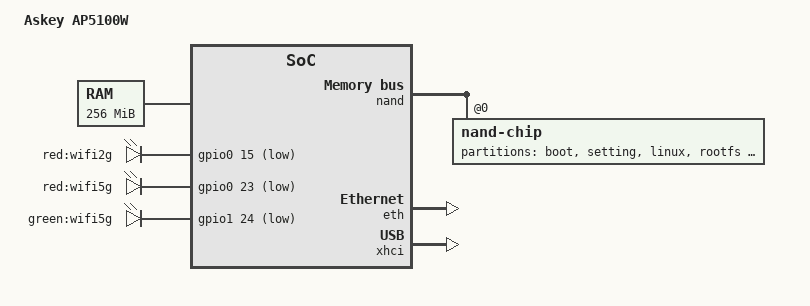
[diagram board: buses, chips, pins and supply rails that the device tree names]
// SPDX-License-Identifier: GPL-2.0-or-later OR MIT

#include <dt-bindings/gpio/gpio.h>

#include "rtl8198c.dtsi"

/ {
	compatible = "askey,ap5100w", "realtek,rtl8198c-soc";
	model = "Askey AP5100W";

	/*
	 * The bootloader reports 256 MiB DDR3
	 * (memory: 10000000 @ 00000000).
	 */
	memory@0 {
		device_type = "memory";
		reg = <0x0 0x10000000>;
	};

	leds {
		compatible = "gpio-leds";

		led_wifi2g_red: wifi2g-red {
			label = "red:wifi2g";
			gpios = <&gpio0 15 GPIO_ACTIVE_LOW>;	/* GPIO 15, B7 */
		};

		led_wifi5g_red: wifi5g-red {
			label = "red:wifi5g";
			gpios = <&gpio0 23 GPIO_ACTIVE_LOW>;	/* GPIO 23, C7 */
		};

		led_wifi5g_green: wifi5g-green {
			label = "green:wifi5g";
			gpios = <&gpio1 24 GPIO_ACTIVE_LOW>;	/* GPIO 56, H0 */
		};
	};
};

/*
 * NAND flash (Winbond W29N01HV, 128 MiB) detected by old BSP.
 * Partitions from old kernel cmdline:
 *   mtdparts=rtk_nand:5m@0x0(boot),3m@0x500000(setting),
 *   6m@0x800000(linux),24m@0xe00000(rootfs),
 *   6m@0x2600000(linux2),24m@0x2C00000(rootfs2),
 *   38m@0x4400000(data),2m@0x6A00000(nvdata)
 */

&nand {
	status = "okay";

	nand-chip@0 {
		reg = <0>;

		partitions {
			compatible = "fixed-partitions";
			#address-cells = <1>;
			#size-cells = <1>;

			partition@0 {
				label = "boot";
				reg = <0x0000000 0x500000>;
				read-only;
			};

			partition@500000 {
				label = "setting";
				reg = <0x0500000 0x300000>;
			};

			partition@800000 {
				label = "linux";
				reg = <0x0800000 0x600000>;
			};

			partition@e00000 {
				label = "rootfs";
				reg = <0x0e00000 0x1800000>;
			};

			partition@2600000 {
				label = "linux2";
				reg = <0x2600000 0x600000>;
			};

			partition@2c00000 {
				label = "rootfs2";
				reg = <0x2c00000 0x1800000>;
			};

			partition@4400000 {
				label = "data";
				reg = <0x4400000 0x2600000>;
			};

			partition@6a00000 {
				label = "nvdata";
				reg = <0x6a00000 0x200000>;
			};
		};
	};
};

&eth {
	status = "okay";
	local-mac-address = [CA FE BA BE 00 00];
};

&xhci {
	status = "okay";
};
